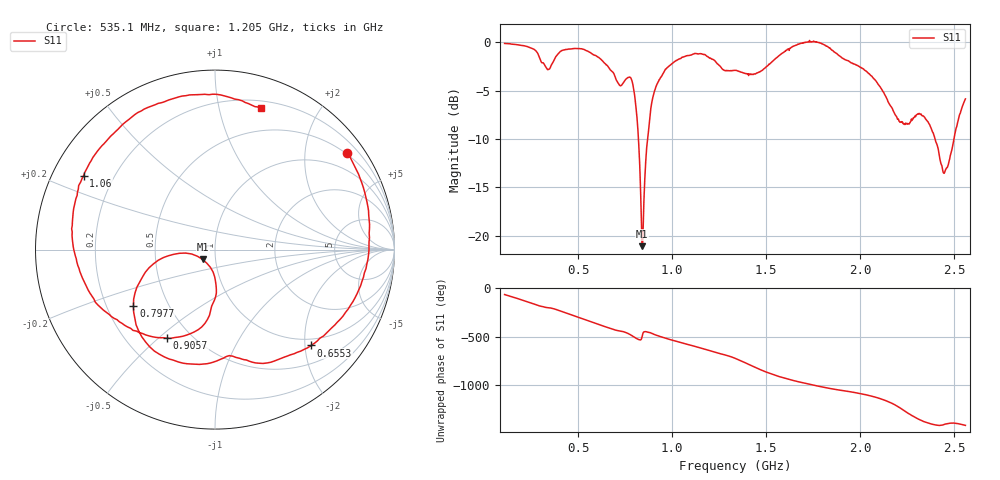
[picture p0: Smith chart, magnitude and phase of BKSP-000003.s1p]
# MHz S MA R 50
!  freq  S11
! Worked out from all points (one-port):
!   1000 points, 108 MHz to 2.56 GHz, reference 50 ohm
!   lowest |S11| = -21.1 dB at 839.4 MHz (marker M1), VSWR 1.19, Z = 43.3 - j4.78 ohm
!   |S11| at or under -10 dB: 820.2 MHz to 869 MHz (48.8 MHz wide, 5.78 % of centre); 2.399 GHz to 2.499 GHz (100.5 MHz wide, 4.1 % of centre)
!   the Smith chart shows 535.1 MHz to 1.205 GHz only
!   S11 on the Smith chart (normalised r, x): 535.1 MHz: 0.46, +3.00; 655.3 MHz: 0.85, -2.13; 797.7 MHz: 0.31, -0.28; 905.7 MHz: 0.37, -0.53; 1.06 GHz: 0.09, +0.26; 1.205 GHz: 0.27, +1.34
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108  0.9873 -63.2
184.0881  0.9701 -109.3
260.1762  0.9243 -158.3
414.8068  0.9085 118.8
476.1682  0.9285 77.1
535.0751  0.9139 36.1
593.982  0.8536 -3.8
655.3433  0.7566 -44.9
721.6136  0.5991 -81.5
797.7017  0.5509 -145.6
839.4274  0.08828 -141.6
905.6977  0.5609 -118.4
1028.42  0.8117 167.7
1060.328  0.8404 150.6
1138.871  0.8706 108.8
1205.141  0.8273 71.9
1335.227  0.7174 -5.6
1450.587  0.6949 -106.8
1543.856  0.8157 -178.5
1642.034  0.9536 125.8
1759.848  1.006 73.2
1948.841  0.7892 7.2
2125.562  0.5508 -76.2
2201.65  0.4016 -147.4
2255.648  0.3791 144.1
2353.826  0.3959 48.0
2452.004  0.2164 32.1
2560  0.5099 19.2
